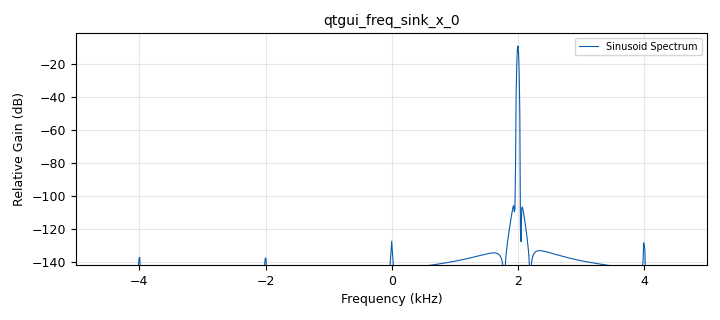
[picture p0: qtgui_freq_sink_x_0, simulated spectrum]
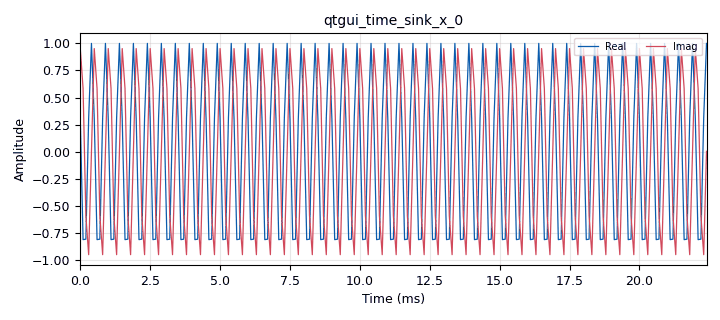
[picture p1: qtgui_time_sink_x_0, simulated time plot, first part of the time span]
options:
  parameters:
    generate_options: qt_gui
    id: ece531_lab1c
    output_language: python
    title: ece531_lab1c
  states: {}

blocks:
- name: freq
  id: variable
  parameters:
    value: '2000'
  states: {}
- name: frequency
  id: variable_qtgui_range
  parameters:
    start: '2000'
    step: '100'
    stop: '15000'
    value: '2000'
  states: {}
- name: samp_rate
  id: variable_qtgui_range
  parameters:
    start: '1000'
    step: '200'
    stop: '40000'
    value: '10000'
  states: {}
- name: analog_sig_source_x_0
  id: analog_sig_source_x
  parameters:
    amp: '1'
    freq: frequency
    offset: '0'
    phase: '0'
    samp_rate: samp_rate
    showports: 'True'
    type: complex
    waveform: analog.GR_SIN_WAVE
  states: {}
- name: blocks_throttle2_0
  id: blocks_throttle2
  parameters:
    samples_per_second: samp_rate
    type: complex
  states: {}
- name: qtgui_freq_sink_x_0
  id: qtgui_freq_sink_x
  parameters:
    autoscale: 'True'
    bw: samp_rate
    fc: '0'
    fftsize: '1024'
    grid: 'True'
    gui_hint: qtgui_tab_widget_0@1
    label1: Sinusoid Spectrum
    type: complex
  states: {}
- name: qtgui_tab_widget_0
  id: qtgui_tab_widget
  parameters:
    label0: Time
    label1: Frequency
    num_tabs: '2'
  states: {}
- name: qtgui_time_sink_x_0
  id: qtgui_time_sink_x
  parameters:
    autoscale: 'True'
    grid: 'True'
    gui_hint: qtgui_tab_widget_0@0
    label1: Real
    label2: Imag
    size: '1024'
    srate: samp_rate
    type: complex
  states: {}

connections:
- [analog_sig_source_x_0, '0', blocks_throttle2_0, '0']
- [blocks_throttle2_0, '0', qtgui_freq_sink_x_0, '0']
- [blocks_throttle2_0, '0', qtgui_time_sink_x_0, '0']

metadata:
  file_format: 1
  grc_version: 3.10.9.2
